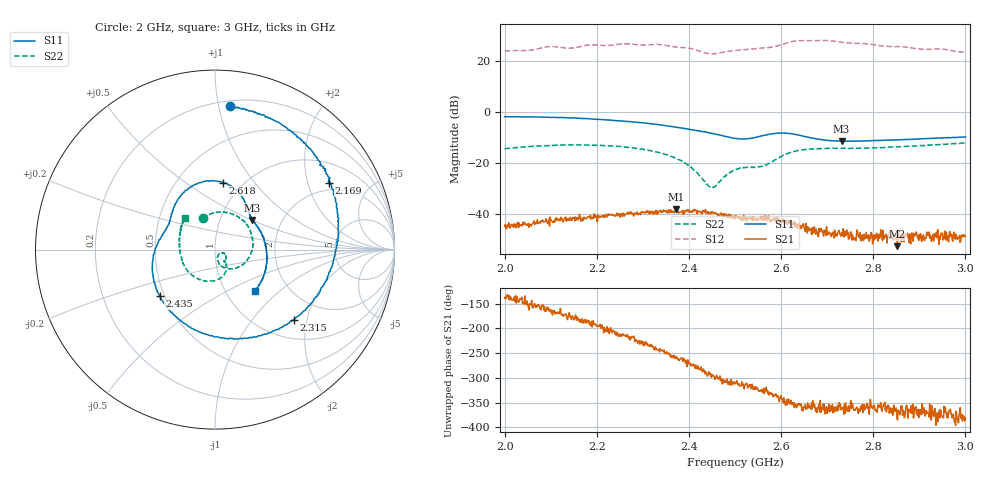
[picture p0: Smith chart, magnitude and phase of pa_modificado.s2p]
!Agilent Technologies,E8364A,US41440144,A.06.04.32
!Agilent E8364A: A.06.04.32
!Date: Monday, February 26, 2018 16:58:26
!Correction: S11(Full 2 Port(1,2)) S21(Full 2 Port(1,2)) S12(Full 2 Port(1,2)) S22(Full 2 Port(1,2))
!S2P File: Measurements: S11, S21, S12, S22:
# Hz S  dB  R 50
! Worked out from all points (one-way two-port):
!   801 points, 2 GHz to 3 GHz, reference 50 ohm
!   highest |S21| = -38.14 dB at 2.371 GHz (marker M1); lowest = -52.5 dB at 2.853 GHz (marker M2)
!   lowest |S11| = -11.5 dB at 2.731 GHz (marker M3), VSWR 1.72, Z = 70.9 + j25.2 ohm
!   |S11| at or under -10 dB: 2.488662 GHz to 2.48909 GHz (428.1 kHz wide, 0.0172 % of centre); 2.49 GHz to 2.545 GHz (54.91 MHz wide, 2.18 % of centre); 2.66 GHz to 2.98 GHz (319.7 MHz wide, 11.3 % of centre) (the widest 3 of 5)
!   |S22| runs from -29.6 to -12.2 dB; largest |S21 - S12| = 25
!   S11 on the Smith chart (normalised r, x): 2 GHz: 0.24, +1.08; 2.169 GHz: 1.69, +2.74; 2.315 GHz: 1.41, -1.68; 2.435 GHz: 0.47, -0.29; 2.618 GHz: 0.81, +0.71; 3 GHz: 1.36, -0.71
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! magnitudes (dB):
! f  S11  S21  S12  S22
! 2 GHz  -1.9  -44.8  23.7  -14.5
! 2.167 GHz  -2.6  -41.8  25.6  -12.9
! 2.169 GHz  -2.7  -41.9  25.7  -12.9
! 2.315 GHz  -4.6  -40.0  26.2  -15.1
! 2.334 GHz  -5.0  -39.4  26.3  -15.9
! 2.371 GHz  -6.0  -38.1  25.3  -18.2
! 2.404 GHz  -6.9  -39.1  24.7  -21.6
! 2.435 GHz  -7.9  -38.6  23.0  -27.2
! 2.454 GHz  -8.6  -39.5  22.6  -29.3
! 2.5 GHz  -10.4  -41.9  23.9  -22.7
! 2.561 GHz  -9.3  -40.9  25.0  -21.2
! 2.618 GHz  -8.5  -42.8  27.2  -16.1
! 2.667 GHz  -10.4  -45.3  27.7  -14.5
! 2.731 GHz  -11.5  -47.7  27.2  -14.3
! 2.757 GHz  -11.5  -49.4  26.8  -14.3
! 2.768 GHz  -11.4  -48.5  26.7  -14.3
! 2.777 GHz  -11.4  -49.6  26.6  -14.2
! 2.834 GHz  -11.1  -49.6  25.5  -13.9
! 2.853 GHz  -11.0  -52.5  25.5  -13.7
! 2.889 GHz  -10.7  -48.0  24.8  -13.4
! 2.91 GHz  -10.5  -48.9  24.4  -13.2
! 3 GHz  -9.8  -48.8  23.3  -12.2
